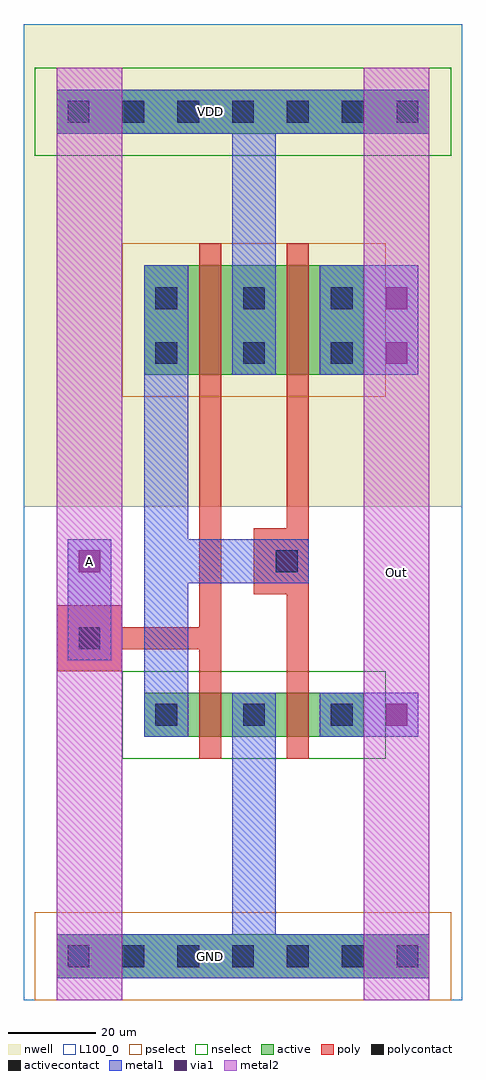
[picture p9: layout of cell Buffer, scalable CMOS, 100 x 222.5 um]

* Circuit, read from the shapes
.subckt Buffer A GND Out VDD
M1 GND A n1 GND nfet w=10u l=5u
M2 Out n1 GND GND nfet w=10u l=5u
M3 VDD A n1 VDD pfet w=25u l=5u
M4 Out n1 VDD VDD pfet w=25u l=5u
.ends

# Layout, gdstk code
import gdstk
lib = gdstk.Library(unit=1e-6, precision=1e-09)
def R(c, l, rs):  # rectangles x0, y0, x1, y1
    for r in rs: c.add(gdstk.rectangle(r[:2], r[2:], *l))
def A(c, l, x, y, w, h, nx, ny, dx, dy):  # array of equal rectangles
    R(c, l, [(x+i*dx, y+j*dy, x+i*dx+w, y+j*dy+h) for i in range(nx) for j in range(ny)])
nwell = (42, 0)
active = (43, 0)
pselect = (44, 0)
nselect = (45, 0)
poly = (46, 0)
polycontact = (47, 0)
activecontact = (48, 0)
metal1 = (49, 0)
via1 = (50, 0)
metal2 = (51, 0)
L100_0 = (100, 0)

buffer = lib.new_cell('Buffer')
R(buffer, nwell, [(0,112.5,100,222.5), (7.5,112.5,92.5,190), (0,190,100,215), (7.5,215,92.5,222.5)])
R(buffer, active, [(7.5,5,92.5,15), (27.5,60,77.5,70), (27.5,142.5,77.5,167.5), (7.5,197.5,92.5,207.5)])
R(buffer, pselect, [(2.5,0,97.5,20), (22.5,137.5,82.5,172.5)])
R(buffer, nselect, [(22.5,55,82.5,75), (2.5,192.5,97.5,212.5)])
R(buffer, poly, [(40,55,45,80), (60,55,65,92.5), (7.5,75,22.5,80), (7.5,80,45,85), (7.5,85,22.5,90), (40,85,45,172.5), (52.5,92.5,65,107.5), (60,107.5,65,172.5)])
R(buffer, polycontact, [(12.5,80,17.5,85), (57.5,97.5,62.5,102.5)])
A(buffer, activecontact, 10, 7.5, 5, 5, 7, 2, 12.5, 192.5)
A(buffer, activecontact, 30, 62.5, 5, 5, 3, 2, 20, 82.5)
A(buffer, activecontact, 30, 157.5, 5, 5, 3, 1, 20, 0)
R(buffer, metal1, [(7.5,5,92.5,15), (47.5,15,57.5,70), (27.5,60,37.5,95), (67.5,60,90,70), (10,77.5,20,105), (27.5,95,65,105), (27.5,105,37.5,167.5), (47.5,142.5,57.5,197.5), (67.5,142.5,90,167.5), (7.5,197.5,92.5,207.5)])
R(buffer, via1, [(82.5,62.5,87.5,67.5), (12.5,97.5,17.5,102.5), (82.5,145,87.5,150), (82.5,157.5,87.5,162.5)])
R(buffer, metal2, [(7.5,0,22.5,212.5), (77.5,0,92.5,212.5)])
R(buffer, L100_0, [(0,0,100,222.5)])
buffer.add(gdstk.Label('VDD', (42.5,202.5), layer=49, texttype=1))
buffer.add(gdstk.Label('GND', (42.5,10), layer=49, texttype=1))
buffer.add(gdstk.Label('A', (15,100), layer=51, texttype=1))
buffer.add(gdstk.Label('Out', (85,97.5), layer=51, texttype=1))

lib.write_gds('Buffer.gds')
